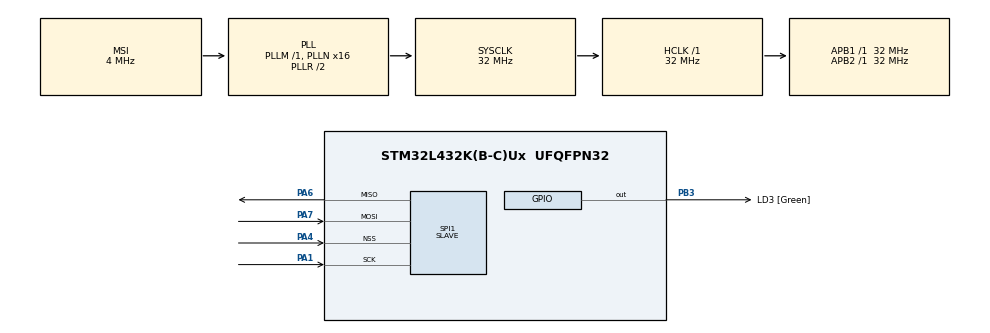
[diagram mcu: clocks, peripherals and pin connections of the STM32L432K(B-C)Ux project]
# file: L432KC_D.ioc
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Dma.Request0=SPI1_RX
Dma.SPI1_RX.0.Direction=DMA_PERIPH_TO_MEMORY
Dma.SPI1_RX.0.Instance=DMA1_Channel2
Dma.SPI1_RX.0.MemDataAlignment=DMA_MDATAALIGN_BYTE
Dma.SPI1_RX.0.MemInc=DMA_MINC_ENABLE
Dma.SPI1_RX.0.Mode=DMA_CIRCULAR
Dma.SPI1_RX.0.PeriphDataAlignment=DMA_PDATAALIGN_BYTE
Dma.SPI1_RX.0.PeriphInc=DMA_PINC_DISABLE
Dma.SPI1_RX.0.Priority=DMA_PRIORITY_VERY_HIGH
FREERTOS.Queues01=spiQueue,16,16,1,Static,spiQueueBuffer,spiQueueControlBlock
FREERTOS.Tasks01=defaultTask,24,128,StartDefaultTask,Default,NULL,Dynamic,NULL,NULL;processSPI,48,128,processSPIHandler,Default,NULL,Dynamic,NULL,NULL
FREERTOS.configUSE_NEWLIB_REENTRANT=1
Mcu.Family=STM32L4
Mcu.Name=STM32L432K(B-C)Ux
Mcu.Package=UFQFPN32
NVIC.DMA1_Channel2_IRQn=true\:5\:0\:false\:false\:true\:true\:false\:true\:true
NVIC.PriorityGroup=NVIC_PRIORITYGROUP_4
NVIC.SPI1_IRQn=true\:5\:0\:false\:false\:true\:true\:true\:true\:true
NVIC.TIM1_UP_TIM16_IRQn=true\:15\:0\:false\:false\:true\:false\:false\:true\:true
NVIC.TimeBase=TIM1_UP_TIM16_IRQn
NVIC.TimeBaseIP=TIM1
PA0.GPIO_Label=MCO [High speed clock in]
PA0.Mode=HSE-External-Clock-Source-for-LittleOrca
PA0.Signal=RCC_CK_IN
PA1.Mode=Full_Duplex_Slave
PA1.Signal=SPI1_SCK
PA13\ (JTMS-SWDIO).GPIO_Label=SWDIO
PA13\ (JTMS-SWDIO).Mode=Serial_Wire
PA13\ (JTMS-SWDIO).Signal=SYS_JTMS-SWDIO
PA14\ (JTCK-SWCLK).GPIO_Label=SWCLK
PA14\ (JTCK-SWCLK).Mode=Serial_Wire
PA14\ (JTCK-SWCLK).Signal=SYS_JTCK-SWCLK
PA15\ (JTDI).GPIO_Label=VCP_RX
PA15\ (JTDI).Signal=USART2_RX
PA2.GPIO_Label=VCP_TX
PA2.Signal=USART2_TX
PA4.Mode=NSS_Signal_Hard_Input
PA4.Signal=SPI1_NSS
PA6.Mode=Full_Duplex_Slave
PA6.Signal=SPI1_MISO
PA7.Mode=Full_Duplex_Slave
PA7.Signal=SPI1_MOSI
PB3\ (JTDO-TRACESWO).GPIO_Label=LD3 [Green]
PB3\ (JTDO-TRACESWO).Signal=GPIO_Output
PC14-OSC32_IN\ (PC14).Mode=LSE-External-Oscillator
PC14-OSC32_IN\ (PC14).Signal=RCC_OSC32_IN
PC15-OSC32_OUT\ (PC15).Mode=LSE-External-Oscillator
PC15-OSC32_OUT\ (PC15).Signal=RCC_OSC32_OUT
ProjectManager.HeapSize=0x200
ProjectManager.StackSize=0x400
ProjectManager.TargetToolchain=STM32CubeIDE
RCC.AHBFreq_Value=32000000
RCC.APB1Freq_Value=32000000
RCC.APB1TimFreq_Value=32000000
RCC.APB2Freq_Value=32000000
RCC.APB2TimFreq_Value=32000000
RCC.CortexFreq_Value=32000000
RCC.HCLKFreq_Value=32000000
RCC.HSE_VALUE=8000000
RCC.HSI16_VALUE=16000000
RCC.HSI48_VALUE=48000000
RCC.HSI_VALUE=16000000
RCC.MSI_VALUE=4000000
RCC.PLLMUL=RCC_PLLMUL_4
RCC.PLLN=16
RCC.SYSCLKFreq_VALUE=32000000
RCC.SYSCLKSource=RCC_SYSCLKSOURCE_PLLCLK
RCC.VCOOutputFreq_Value=64000000
SPI1.DataSize=SPI_DATASIZE_8BIT
SPI1.Direction=SPI_DIRECTION_2LINES
SPI1.FirstBit=SPI_FIRSTBIT_MSB
SPI1.Mode=SPI_MODE_SLAVE
SPI1.VirtualNSS=VM_NSSHARD
SPI1.VirtualType=VM_SLAVE
VP_FREERTOS_VS_CMSIS_V2.Mode=CMSIS_V2
VP_SYS_VS_tim1.Mode=TIM1
board=NUCLEO-L432KC

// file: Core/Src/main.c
/* USER CODE BEGIN Header */
/**
  ******************************************************************************
  * @file           : main.c
  * @brief          : Main program body
  ******************************************************************************
  * @attention
  *
  * Copyright (c) 2025 STMicroelectronics.
  * All rights reserved.
  *
  * This software is licensed under terms that can be found in the LICENSE file
  * in the root directory of this software component.
  * If no LICENSE file comes with this software, it is provided AS-IS.
  *
  ******************************************************************************
  */
/* USER CODE END Header */
#include "main.h"
#include "cmsis_os.h"
#include "dma.h"
#include "spi.h"
#include "gpio.h"

/* USER CODE BEGIN PV */
osMessageQueueId_t spiQueueHandle;
SPI_HandleTypeDef hspi1;
uint8_t aTxBuffer[16];
uint8_t aRxBuffer[16];
/* USER CODE END PV */

void SystemClock_Config(void);
void MX_FREERTOS_Init(void);

/* USER CODE BEGIN 0 */
enum {
	TRANSFER_WAIT,
	TRANSFER_COMPLETE,
	TRANSFER_ERROR
};
/* USER CODE END 0 */

int main(void)
{

  /* MCU Configuration--------------------------------------------------------*/

  /* Reset of all peripherals, Initializes the Flash interface and the Systick. */
  HAL_Init();

  /* Configure the system clock */
  SystemClock_Config();

  /* Initialize all configured peripherals */
  MX_GPIO_Init();
  MX_DMA_Init();
  MX_SPI1_Init();

  /* Init scheduler */
  osKernelInitialize();

  /* Call init function for freertos objects (in cmsis_os2.c) */
  MX_FREERTOS_Init();

  /* Start scheduler */
  osKernelStart();

  /* We should never get here as control is now taken by the scheduler */

  /* Infinite loop */
  while (1)
  {

  }
}

void SystemClock_Config(void)
{
  RCC_OscInitTypeDef RCC_OscInitStruct = {0};
  RCC_ClkInitTypeDef RCC_ClkInitStruct = {0};

  /** Configure the main internal regulator output voltage
  */
  if (HAL_PWREx_ControlVoltageScaling(PWR_REGULATOR_VOLTAGE_SCALE1) != HAL_OK)
  {
    Error_Handler();
  }

  /** Configure LSE Drive Capability
  */
  HAL_PWR_EnableBkUpAccess();
  __HAL_RCC_LSEDRIVE_CONFIG(RCC_LSEDRIVE_LOW);

  /** Initializes the RCC Oscillators according to the specified parameters
  * in the RCC_OscInitTypeDef structure.
  */
  RCC_OscInitStruct.OscillatorType = RCC_OSCILLATORTYPE_LSE|RCC_OSCILLATORTYPE_MSI;
  RCC_OscInitStruct.LSEState = RCC_LSE_ON;
  RCC_OscInitStruct.MSIState = RCC_MSI_ON;
  RCC_OscInitStruct.MSICalibrationValue = 0;
  RCC_OscInitStruct.MSIClockRange = RCC_MSIRANGE_6;
  RCC_OscInitStruct.PLL.PLLState = RCC_PLL_ON;
  RCC_OscInitStruct.PLL.PLLSource = RCC_PLLSOURCE_MSI;
  RCC_OscInitStruct.PLL.PLLM = 1;
  RCC_OscInitStruct.PLL.PLLN = 16;
  RCC_OscInitStruct.PLL.PLLP = RCC_PLLP_DIV7;
  RCC_OscInitStruct.PLL.PLLQ = RCC_PLLQ_DIV2;
  RCC_OscInitStruct.PLL.PLLR = RCC_PLLR_DIV2;
  if (HAL_RCC_OscConfig(&RCC_OscInitStruct) != HAL_OK)
  {
    Error_Handler();
  }

  /** Initializes the CPU, AHB and APB buses clocks
  */
  RCC_ClkInitStruct.ClockType = RCC_CLOCKTYPE_HCLK|RCC_CLOCKTYPE_SYSCLK
                              |RCC_CLOCKTYPE_PCLK1|RCC_CLOCKTYPE_PCLK2;
  RCC_ClkInitStruct.SYSCLKSource = RCC_SYSCLKSOURCE_PLLCLK;
  RCC_ClkInitStruct.AHBCLKDivider = RCC_SYSCLK_DIV1;
  RCC_ClkInitStruct.APB1CLKDivider = RCC_HCLK_DIV1;
  RCC_ClkInitStruct.APB2CLKDivider = RCC_HCLK_DIV1;

  if (HAL_RCC_ClockConfig(&RCC_ClkInitStruct, FLASH_LATENCY_1) != HAL_OK)
  {
    Error_Handler();
  }

  /** Enable MSI Auto calibration
  */
  HAL_RCCEx_EnableMSIPLLMode();
}

void HAL_TIM_PeriodElapsedCallback(TIM_HandleTypeDef *htim)
{
  if (htim->Instance == TIM1)
  {
    HAL_IncTick();
  }
}

void Error_Handler(void)
{
  __disable_irq();
  while (1)
  {
  }
}

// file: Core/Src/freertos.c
/* USER CODE BEGIN Header */
/**
  ******************************************************************************
  * File Name          : freertos.c
  * Description        : Code for freertos applications
  ******************************************************************************
  * @attention
  *
  * Copyright (c) 2025 STMicroelectronics.
  * All rights reserved.
  *
  * This software is licensed under terms that can be found in the LICENSE file
  * in the root directory of this software component.
  * If no LICENSE file comes with this software, it is provided AS-IS.
  *
  ******************************************************************************
  */
/* USER CODE END Header */

#include "FreeRTOS.h"
#include "task.h"
#include "main.h"
#include "cmsis_os.h"

/* USER CODE BEGIN Includes */
#include <stdio.h>
/* USER CODE END Includes */

typedef StaticQueue_t osStaticMessageQDef_t;

/* USER CODE BEGIN Variables */
extern uint8_t aTxBuffer[16];
extern uint8_t aRxBuffer[16];
extern SPI_HandleTypeDef hspi1;
/* USER CODE END Variables */
/* Definitions for defaultTask */
osThreadId_t defaultTaskHandle;
const osThreadAttr_t defaultTask_attributes = {
  .name = "defaultTask",
  .stack_size = 128 * 4,
  .priority = (osPriority_t) osPriorityNormal,
};
/* Definitions for processSPI */
osThreadId_t processSPIHandle;
const osThreadAttr_t processSPI_attributes = {
  .name = "processSPI",
  .stack_size = 128 * 4,
  .priority = (osPriority_t) osPriorityRealtime,
};
/* Definitions for spiQueue */
extern osMessageQueueId_t spiQueueHandle;
uint8_t spiQueueBuffer[ 16 * 16 ];
osStaticMessageQDef_t spiQueueControlBlock;
const osMessageQueueAttr_t spiQueue_attributes = {
  .name = "spiQueue",
  .cb_mem = &spiQueueControlBlock,
  .cb_size = sizeof(spiQueueControlBlock),
  .mq_mem = &spiQueueBuffer,
  .mq_size = sizeof(spiQueueBuffer)
};

void StartDefaultTask(void *argument);
void processSPIHandler(void *argument);

void MX_FREERTOS_Init(void); /* (MISRA C 2004 rule 8.1) */

void MX_FREERTOS_Init(void) {

  /* Create the queue(s) */
  /* creation of spiQueue */
  spiQueueHandle = osMessageQueueNew (16, 16, &spiQueue_attributes);

  /* Create the thread(s) */
  /* creation of defaultTask */
  defaultTaskHandle = osThreadNew(StartDefaultTask, NULL, &defaultTask_attributes);

  /* creation of processSPI */
  processSPIHandle = osThreadNew(processSPIHandler, NULL, &processSPI_attributes);

}

void StartDefaultTask(void *argument)
{
  for(;;)
  {
    osDelay(1);
  }
}

void processSPIHandler(void *argument)
{
  /* USER CODE BEGIN processSPIHandler */
  /* Infinite loop */
  uint8_t received[16] = {0};
  HAL_SPI_TransmitReceive_IT(&hspi1, aTxBuffer, aRxBuffer, 16);
  for (;;) {
	  // Wait until data arrives from ISR
	  if (xQueueReceive(spiQueueHandle, received, portMAX_DELAY) == pdPASS) {
		  // Process dat

	  }
	  HAL_SPI_TransmitReceive_IT(&hspi1, aTxBuffer, aRxBuffer, 16);
  }
  /* USER CODE END processSPIHandler */
}

/* USER CODE BEGIN Application */
/* USER CODE BEGIN 1 */
/* USER CODE END Application */
